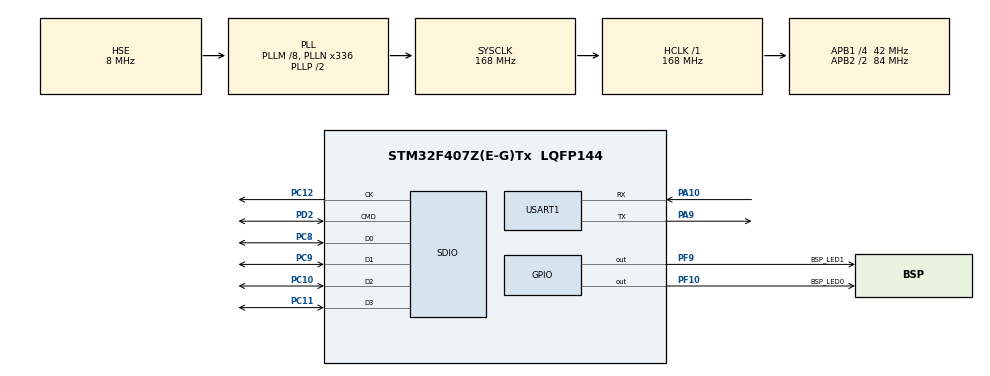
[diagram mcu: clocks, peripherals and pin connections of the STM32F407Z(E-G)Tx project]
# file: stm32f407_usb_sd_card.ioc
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Mcu.Family=STM32F4
Mcu.Name=STM32F407Z(E-G)Tx
Mcu.Package=LQFP144
NVIC.PriorityGroup=NVIC_PRIORITYGROUP_2
PA10.Mode=Asynchronous
PA10.Signal=USART1_RX
PA13.Mode=Serial_Wire
PA13.Signal=SYS_JTMS-SWDIO
PA14.Mode=Serial_Wire
PA14.Signal=SYS_JTCK-SWCLK
PA9.Mode=Asynchronous
PA9.Signal=USART1_TX
PC10.Mode=SD_4_bits_Wide_bus
PC10.Signal=SDIO_D2
PC11.Mode=SD_4_bits_Wide_bus
PC11.Signal=SDIO_D3
PC12.Mode=SD_4_bits_Wide_bus
PC12.Signal=SDIO_CK
PC8.Mode=SD_4_bits_Wide_bus
PC8.Signal=SDIO_D0
PC9.Mode=SD_4_bits_Wide_bus
PC9.Signal=SDIO_D1
PD2.Mode=SD_4_bits_Wide_bus
PD2.Signal=SDIO_CMD
PF10.GPIO_Label=BSP_LED0
PF10.GPIO_ModeDefaultOutputPP=GPIO_MODE_OUTPUT_OD
PF10.GPIO_PuPd=GPIO_PULLUP
PF10.GPIO_Speed=GPIO_SPEED_FREQ_VERY_HIGH
PF10.PinState=GPIO_PIN_SET
PF10.Signal=GPIO_Output
PF9.GPIO_Label=BSP_LED1
PF9.GPIO_ModeDefaultOutputPP=GPIO_MODE_OUTPUT_OD
PF9.GPIO_PuPd=GPIO_PULLUP
PF9.GPIO_Speed=GPIO_SPEED_FREQ_VERY_HIGH
PF9.PinState=GPIO_PIN_SET
PF9.Signal=GPIO_Output
PH0-OSC_IN.Mode=HSE-External-Oscillator
PH0-OSC_IN.Signal=RCC_OSC_IN
PH1-OSC_OUT.Mode=HSE-External-Oscillator
PH1-OSC_OUT.Signal=RCC_OSC_OUT
ProjectManager.HeapSize=0x400
ProjectManager.StackSize=0x400
ProjectManager.TargetToolchain=MDK-ARM V5
RCC.48MHZClocksFreq_Value=48000000
RCC.AHBFreq_Value=168000000
RCC.APB1CLKDivider=RCC_HCLK_DIV4
RCC.APB1Freq_Value=42000000
RCC.APB1TimFreq_Value=84000000
RCC.APB2CLKDivider=RCC_HCLK_DIV2
RCC.APB2Freq_Value=84000000
RCC.APB2TimFreq_Value=168000000
RCC.CortexFreq_Value=168000000
RCC.HCLKFreq_Value=168000000
RCC.HSE_VALUE=8000000
RCC.HSI_VALUE=16000000
RCC.LSE_VALUE=32768
RCC.PLLM=8
RCC.PLLN=336
RCC.PLLQ=7
RCC.PLLSourceVirtual=RCC_PLLSOURCE_HSE
RCC.RCC_MCO1Source=RCC_MCO1SOURCE_PLLCLK
RCC.RCC_MCODiv1=RCC_MCODIV_4
RCC.SYSCLKFreq_VALUE=168000000
RCC.SYSCLKSource=RCC_SYSCLKSOURCE_PLLCLK
RCC.VCOOutputFreq_Value=336000000
USART1.VirtualMode=VM_ASYNC
board=custom

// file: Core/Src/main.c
/* USER CODE BEGIN Header */
/**
  ******************************************************************************
  * @file           : main.c
  * @brief          : Main program body
  ******************************************************************************
  * @attention
  *
  * <h2><center>&copy; Copyright (c) 2019 STMicroelectronics.
  * All rights reserved.</center></h2>
  *
  * This software component is licensed by ST under BSD 3-Clause license,
  * the "License"; You may not use this file except in compliance with the
  * License. You may obtain a copy of the License at:
  *                        opensource.org/licenses/BSD-3-Clause
  *
  ******************************************************************************
  */
/* USER CODE END Header */

#include "main.h"
#include "sdio.h"
#include "usart.h"
#include "gpio.h"

void SystemClock_Config(void);

/* USER CODE BEGIN 0 */
#include "stdio.h"

HAL_StatusTypeDef status = {0};
HAL_SD_CardCIDTypeDef pCID = {0};
HAL_SD_CardCSDTypeDef pCSD = {0};
HAL_SD_CardInfoTypeDef pCardInfo = {0};
HAL_SD_CardStatusTypeDef pStatus = {0};
/* USER CODE END 0 */

int main(void)
{

  /* MCU Configuration--------------------------------------------------------*/

  /* Reset of all peripherals, Initializes the Flash interface and the Systick. */
  HAL_Init();

  /* Configure the system clock */
  SystemClock_Config();

  /* Initialize all configured peripherals */
  MX_GPIO_Init();
  MX_SDIO_SD_Init();
  MX_USART1_UART_Init();

  /* USER CODE BEGIN 2 */

	uint8_t state = HAL_SD_GetCardState(&hsd);
	status = HAL_SD_GetCardCID(&hsd, &pCID); 							//READ CID REG, ALL 16	byte
	status |= HAL_SD_GetCardCSD(&hsd, &pCSD)<<2;					//READ CSD REG, ALL 128	byte
	status |=  HAL_SD_GetCardInfo(&hsd, &pCardInfo)<<4;
	status |= HAL_SD_GetCardStatus(&hsd, &pStatus)<<6;
	if(!status){
		printf("SD Card Initialized\r\n");
		printf("Capacity	: %.4f GB \r\n",pCardInfo.BlockSize*pCardInfo.BlockNbr/1.0/1024/1024/1024);
	}
	uint8_t pData[1024]={0};
//	memset(pData, 'a', 1024);
//	HAL_SD_WriteBlocks(&hsd, pData, 0, 1, 0xFFFFF);
//	memset(pData, 0, 1024);
	HAL_SD_Erase(&hsd, 0, 1);
	HAL_SD_ReadBlocks(&hsd, pData, 0, 1, 0xFFFFF);
	printf("sd read %s\r\n",pData);
  /* USER CODE END 2 */

  /* Infinite loop */
  while (1)
  {

		HAL_Delay(100);
  }
}

void SystemClock_Config(void)
{
  RCC_OscInitTypeDef RCC_OscInitStruct = {0};
  RCC_ClkInitTypeDef RCC_ClkInitStruct = {0};

  /** Configure the main internal regulator output voltage
  */
  __HAL_RCC_PWR_CLK_ENABLE();
  __HAL_PWR_VOLTAGESCALING_CONFIG(PWR_REGULATOR_VOLTAGE_SCALE1);
  /** Initializes the CPU, AHB and APB busses clocks
  */
  RCC_OscInitStruct.OscillatorType = RCC_OSCILLATORTYPE_HSE;
  RCC_OscInitStruct.HSEState = RCC_HSE_ON;
  RCC_OscInitStruct.PLL.PLLState = RCC_PLL_ON;
  RCC_OscInitStruct.PLL.PLLSource = RCC_PLLSOURCE_HSE;
  RCC_OscInitStruct.PLL.PLLM = 8;
  RCC_OscInitStruct.PLL.PLLN = 336;
  RCC_OscInitStruct.PLL.PLLP = RCC_PLLP_DIV2;
  RCC_OscInitStruct.PLL.PLLQ = 7;
  if (HAL_RCC_OscConfig(&RCC_OscInitStruct) != HAL_OK)
  {
    Error_Handler();
  }
  /** Initializes the CPU, AHB and APB busses clocks
  */
  RCC_ClkInitStruct.ClockType = RCC_CLOCKTYPE_HCLK|RCC_CLOCKTYPE_SYSCLK
                              |RCC_CLOCKTYPE_PCLK1|RCC_CLOCKTYPE_PCLK2;
  RCC_ClkInitStruct.SYSCLKSource = RCC_SYSCLKSOURCE_PLLCLK;
  RCC_ClkInitStruct.AHBCLKDivider = RCC_SYSCLK_DIV1;
  RCC_ClkInitStruct.APB1CLKDivider = RCC_HCLK_DIV4;
  RCC_ClkInitStruct.APB2CLKDivider = RCC_HCLK_DIV2;

  if (HAL_RCC_ClockConfig(&RCC_ClkInitStruct, FLASH_LATENCY_5) != HAL_OK)
  {
    Error_Handler();
  }
}

void Error_Handler(void)
{
}

/************************ (C) COPYRIGHT STMicroelectronics *****END OF FILE****/
